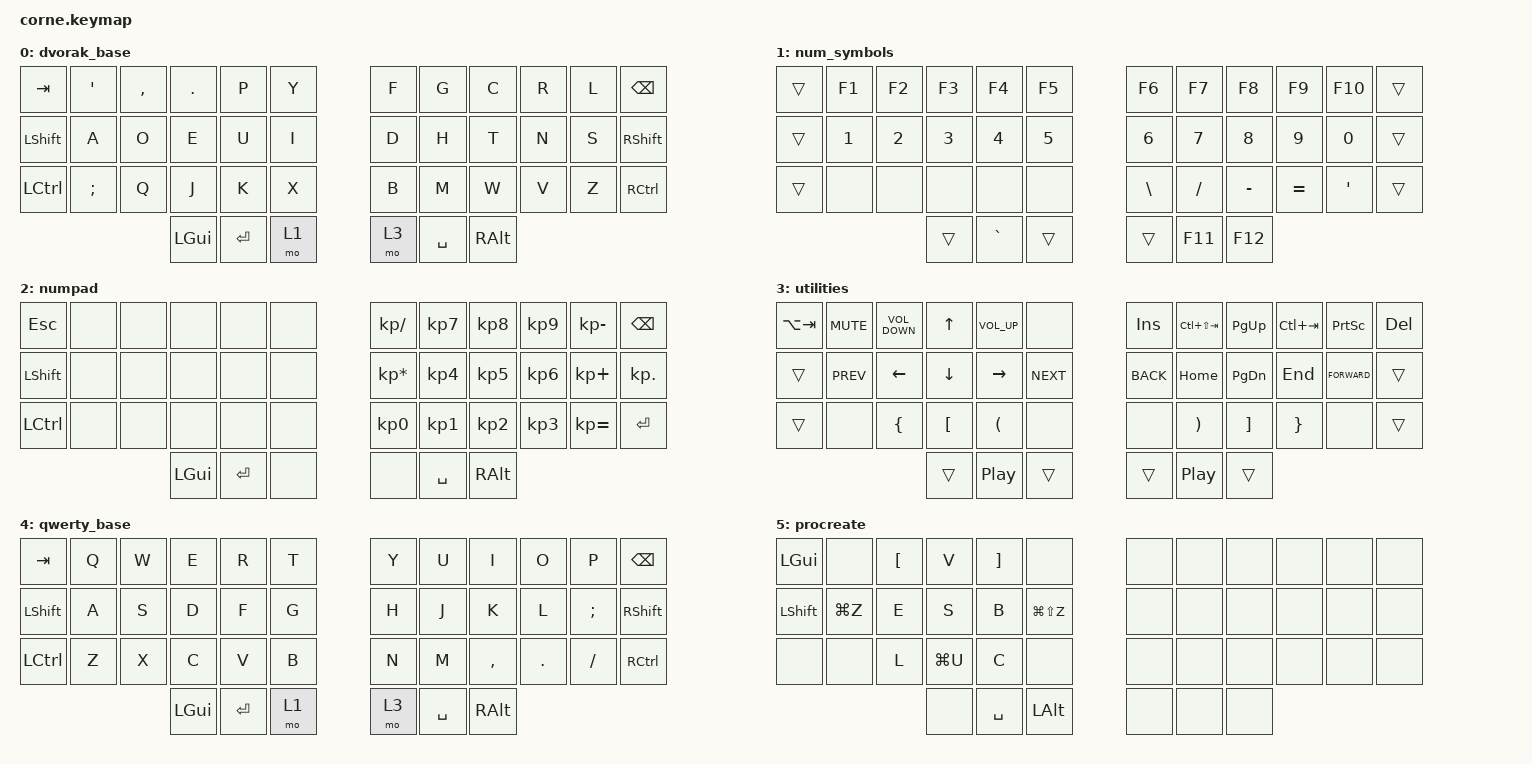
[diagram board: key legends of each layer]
/*
 * Copyright (c) 2020 The ZMK Contributors
 *
 * SPDX-License-Identifier: MIT
 */

#include <behaviors.dtsi>
#include <dt-bindings/zmk/keys.h>

/ {
    combos {
        compatible = "zmk,combos";

        escape {
            bindings = <&kp ESC>;
            key-positions = <0 1>;
            layers = <0>;
        };

        leftHalf_left {
            bindings = <&kp LEFT>;
            key-positions = <13 14>;
        };

        leftHalf_up {
            bindings = <&kp UP>;
            key-positions = <2 3>;
        };

        leftHalf_down {
            bindings = <&kp DOWN>;
            key-positions = <14 15>;
        };

        leftHalf_right {
            bindings = <&kp RIGHT>;
            key-positions = <15 16>;
        };

        rightHalf_left {
            bindings = <&kp LEFT>;
            key-positions = <19 20>;
        };

        rightHalf_up {
            bindings = <&kp UP>;
            key-positions = <8 9>;
        };

        rightHalf_down {
            bindings = <&kp DOWN>;
            key-positions = <20 21>;
        };

        rightHalf_right {
            bindings = <&kp RIGHT>;
            key-positions = <21 22>;
        };
    };

    keymap {
        compatible = "zmk,keymap";

        dvorak_base {
            // -----------------------------------------------------------------------------------------
            // |  TAB |  Q  |  W  |  E  |  R  |  T  |   |  Y  |  U   |  I  |  O  |  P  | BSPC |
            // | CTRL |  A  |  S  |  D  |  F  |  G  |   |  H  |  J   |  K  |  L  |  ;  |  '   |
            // | SHFT |  Z  |  X  |  C  |  V  |  B  |   |  N  |  M   |  ,  |  .  |  /  | ESC  |
            //                    | GUI | LWR | SPC |   | ENT | RSE  | ALT |

            bindings = <
&kp TAB         &kp SQT   &kp COMMA  &kp DOT   &kp P      &kp Y    &kp F  &kp G      &kp C     &kp R  &kp L  &kp BSPC
&kp LEFT_SHIFT  &kp A     &kp O      &kp E     &kp U      &kp I    &kp D  &kp H      &kp T     &kp N  &kp S  &kp RIGHT_SHIFT
&kp LCTRL       &kp SEMI  &kp Q      &kp J     &kp K      &kp X    &kp B  &kp M      &kp W     &kp V  &kp Z  &kp RCTRL
                                     &kp LGUI  &kp ENTER  &mo 1    &mo 3  &kp SPACE  &kp RALT
            >;
        };

        num_symbols {
            // -----------------------------------------------------------------------------------------
            // |  TAB |  1  |  2  |  3  |  4  |  5  |   |  6  |  7  |  8  |  9  |  0  | BSPC |
            // | BTCLR| BT1 | BT2 | BT3 | BT4 | BT5 |   | LFT | DWN |  UP | RGT |     |      |
            // | SHFT |     |     |     |     |     |   |     |     |     |     |     |      |
            //                    | GUI |     | SPC |   | ENT |     | ALT |

            bindings = <
&trans  &kp F1  &kp F2  &kp F3  &kp F4     &kp F5    &kp F6         &kp F7     &kp F8     &kp F9     &kp F10         &trans
&trans  &kp N1  &kp N2  &kp N3  &kp N4     &kp N5    &kp N6         &kp N7     &kp N8     &kp N9     &kp N0          &trans
&trans  &none   &none   &none   &none      &none     &kp BACKSLASH  &kp SLASH  &kp MINUS  &kp EQUAL  &kp APOSTROPHE  &trans
                        &trans  &kp GRAVE  &trans    &trans         &kp F11    &kp F12
            >;
        };

        numpad {
            bindings = <
&kp ESCAPE  &none  &none  &none     &none      &none    &kp KP_DIVIDE    &kp KP_NUMBER_7  &kp KP_NUMBER_8  &kp KP_NUMBER_9  &kp KP_SUBTRACT  &kp BSPC
&kp LSHFT   &none  &none  &none     &none      &none    &kp KP_ASTERISK  &kp KP_NUMBER_4  &kp KP_NUMBER_5  &kp KP_NUMBER_6  &kp KP_PLUS      &kp KP_DOT
&kp LCTRL   &none  &none  &none     &none      &none    &kp KP_NUMBER_0  &kp KP_NUMBER_1  &kp KP_NUMBER_2  &kp KP_NUMBER_3  &kp KP_EQUAL     &kp ENTER
                          &kp LGUI  &kp ENTER  &none    &none            &kp SPACE        &kp RALT
            >;
        };

        utilities {
            bindings = <
&kp LA(TAB)  &kp K_MUTE  &kp C_VOLUME_DOWN  &kp UP            &kp C_VOLUME_UP       &none         &kp INS     &kp LC(LS(TAB))        &kp PG_UP          &kp LC(TAB)      &kp PRINTSCREEN  &kp DELETE
&trans       &kp C_PREV  &kp LEFT           &kp DOWN          &kp RIGHT             &kp C_NEXT    &kp K_BACK  &kp HOME               &kp PG_DN          &kp END          &kp K_FORWARD    &trans
&trans       &none       &kp LEFT_BRACE     &kp LEFT_BRACKET  &kp LEFT_PARENTHESIS  &none         &none       &kp RIGHT_PARENTHESIS  &kp RIGHT_BRACKET  &kp RIGHT_BRACE  &none            &trans
                                            &trans            &kp C_PLAY_PAUSE      &trans        &trans      &kp C_PLAY_PAUSE       &trans
            >;
        };

        qwerty_base {
            bindings = <
&kp TAB         &kp Q  &kp W  &kp E     &kp R      &kp T    &kp Y  &kp U      &kp I      &kp O    &kp P     &kp BSPC
&kp LEFT_SHIFT  &kp A  &kp S  &kp D     &kp F      &kp G    &kp H  &kp J      &kp K      &kp L    &kp SEMI  &kp RIGHT_SHIFT
&kp LCTRL       &kp Z  &kp X  &kp C     &kp V      &kp B    &kp N  &kp M      &kp COMMA  &kp DOT  &kp FSLH  &kp RCTRL
                              &kp LGUI  &kp ENTER  &mo 1    &mo 3  &kp SPACE  &kp RALT
            >;
        };

        procreate {
            bindings = <
&kp LEFT_GUI    &none      &kp LEFT_BRACKET  &kp V      &kp RIGHT_BRACKET  &none            &none  &none  &none  &none  &none  &none
&kp LEFT_SHIFT  &kp LG(Z)  &kp E             &kp S      &kp B              &kp LG(LS(Z))    &none  &none  &none  &none  &none  &none
&none           &none      &kp L             &kp LG(U)  &kp C              &none            &none  &none  &none  &none  &none  &none
                                             &none      &kp SPACE          &kp LEFT_ALT     &none  &none  &none
            >;
        };
    };
};
